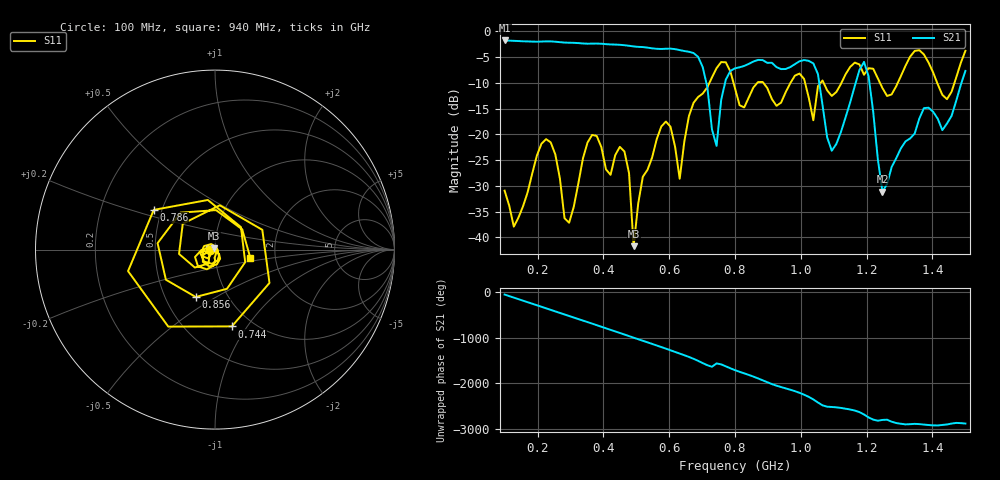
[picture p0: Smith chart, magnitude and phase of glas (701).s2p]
! NanoVNA-App
! Date: 2025-09-25 16:00:56
! Start: 100MHz Stop: 1,5GHz Points: 101
! S-Parameter data: F S11 S21 S12 S22
# Hz S RI R 50
!  Frequency  S11_Real  S11_Imag  S21_Real  S21_Imag  S12_Real  S12_Imag  S22_Real  S22_Imag
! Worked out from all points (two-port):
!   101 points, 100 MHz to 1.5 GHz, reference 50 ohm
!   highest |S21| = -1.80 dB at 100 MHz (marker M1); lowest = -31.1 dB at 1.248 GHz (marker M2)
!   |S21| within 3 dB of the highest: start of sweep to 684.5 MHz
!   lowest |S11| = -41.7 dB at 492 MHz (marker M3), VSWR 1.02, Z = 49.5 + j0.62 ohm
!   |S11| at or under -10 dB: start of sweep to 722.5 MHz; 795.4 MHz to 868.2 MHz (72.86 MHz wide, 8.76 % of centre); 885.9 MHz to 968.8 MHz (82.94 MHz wide, 8.94 % of centre) (the widest 3 of 7)
!   S12 and S22 are empty: the file has one direction only
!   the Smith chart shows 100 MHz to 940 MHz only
!   S11 on the Smith chart (normalised r, x): 100 MHz: 0.94, -0.01; 744 MHz: 0.80, -0.85; 786 MHz: 0.45, +0.24; 856 MHz: 0.71, -0.41; 940 MHz: 1.48, -0.15
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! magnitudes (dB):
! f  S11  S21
! 100 MHz  -30.9  -1.8
! 128 MHz  -37.9  -1.9
! 226 MHz  -20.9  -2.0
! 296 MHz  -37.1  -2.2
! 338 MHz  -24.7  -2.4
! 464 MHz  -23.3  -2.7
! 492 MHz  -41.7  -3.0
! 576 MHz  -18.5  -3.5
! 632 MHz  -28.6  -3.7
! 702 MHz  -12.1  -7.0
! 744 MHz  -7.2  -22.2
! 786 MHz  -7.8  -7.7
! 800 MHz  -11.1  -7.2
! 856 MHz  -10.9  -5.9
! 940 MHz  -13.9  -7.4
! 996 MHz  -8.2  -5.8
! 1.038 GHz  -17.3  -6.2
! 1.094 GHz  -12.6  -23.2
! 1.192 GHz  -8.4  -6.0
! 1.248 GHz  -11.0  -31.1
! 1.276 GHz  -12.3  -26.3
! 1.5 GHz  -3.8  -7.7
